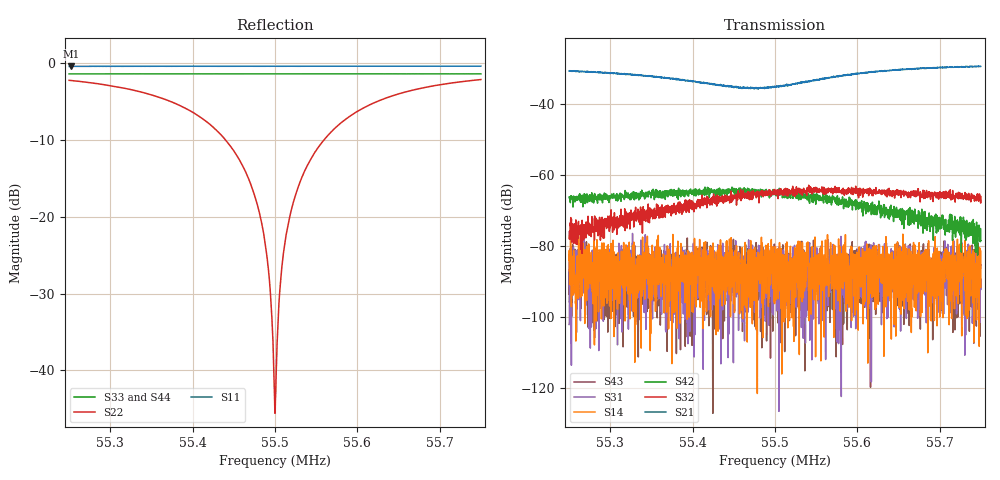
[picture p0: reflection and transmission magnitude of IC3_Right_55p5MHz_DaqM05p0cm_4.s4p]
#  HZ  S  DB  R  50.00
! Rohde & Schwarz Vector Network Analyzer
! Rohde-Schwarz,ZNB8-4Port,1311601044102961,2.82
! Created: UTC 2/13/2019, 1:43:54 PM
! freq[Hz]  db:S11  ang:S11  db:S12  ang:S12  db:S13  ang:S13  db:S14  ang:S14
!  db:S21  ang:S21  db:S22  ang:S22  db:S23  ang:S23  db:S24  ang:S24
!  db:S31  ang:S31  db:S32  ang:S32  db:S33  ang:S33  db:S34  ang:S34
!  db:S41  ang:S41  db:S42  ang:S42  db:S43  ang:S43  db:S44  ang:S44
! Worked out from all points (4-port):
!   2001 points, 55.25 MHz to 55.75 MHz, reference 50 ohm
!   strongest paths, dB at 55.25 MHz, 55.375 MHz, 55.5 MHz, 55.625 MHz, 55.75 MHz:
!     S21: -30.9, -33.1, -35.3, -31.0, -29.6
!     S32: -77.9, -68.6, -65.4, -65.2, -66.1
!     S42: -66.3, -65.1, -65.1, -69.2, -78.5
!     S14: -84.1, -91.3, -82.2, -87.4, -91.6
!     S31: -102.1, -90.3, -85.3, -92.2, -89.5
!     S43: -93.6, -85.0, -85.2, -89.3, -85.3
!   lowest |S11| = -0.4 dB at 55.2522 MHz (marker M1), VSWR 39.87, Z = 2.22 + j43.9 ohm
!   |S11| at or under -10 dB: nowhere
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5.525e7  -0.43 97.4  -30.85 71.0  -88.30 -74.2  -84.14 -0.3
         -30.86 71.0  -2.25 -140.9  -77.95 19.5  -67.10 -150.2
         -102.09 120.7  -77.94 7.6  -1.41 24.7  -110.38 165.8
         -81.12 1.6  -66.31 -160.8  -93.59 111.2  -1.43 31.2
5.525225e7  -0.44 97.4  -30.93 71.3  -91.00 -175.9  -80.37 114.0
            -30.87 70.7  -2.27 -141.2  -79.70 1.4  -67.18 -157.8
            -107.33 -8.1  -77.08 22.4  -1.41 24.7  -93.20 145.9
            -94.60 -84.8  -65.89 -154.9  -83.67 112.4  -1.44 31.2
5.544875e7  -0.42 93.7  -35.42 74.7  -94.31 98.7  -82.82 -72.2
            -35.25 73.3  -11.24 169.7  -67.23 -50.0  -65.08 157.2
            -84.40 150.3  -65.71 -42.5  -1.41 22.2  -90.86 130.2
            -90.74 -15.9  -64.69 165.0  -83.06 -30.9  -1.42 28.7
5.5485e7  -0.41 93.1  -35.53 85.8  -100.92 -55.9  -84.92 7.9
          -35.59 85.5  -21.48 158.3  -64.97 -56.9  -64.52 144.8
          -90.60 -158.9  -65.75 -55.0  -1.41 21.8  -88.89 -17.4
          -90.42 179.5  -65.06 135.7  -80.35 -125.7  -1.42 28.3
5.55e7  -0.42 92.8  -35.49 91.4  -85.40 128.0  -82.16 15.0
        -35.33 91.4  -45.57 -127.6  -65.36 -60.5  -65.51 142.5
        -85.25 153.8  -65.40 -56.7  -1.40 21.6  -82.36 35.6
        -81.11 -118.3  -65.08 141.5  -85.17 132.5  -1.43 28.1
5.555125e7  -0.41 91.8  -33.39 100.7  -82.52 -142.0  -82.74 30.2
            -33.27 100.9  -11.16 -53.0  -64.33 -70.5  -66.92 125.5
            -85.30 -162.5  -64.13 -70.0  -1.41 20.9  -94.14 -106.1
            -84.84 -16.9  -66.40 125.3  -80.77 54.1  -1.42 27.4
5.575e7  -0.41 88.2  -29.49 84.0  -88.99 130.5  -91.59 141.3
         -29.57 85.1  -2.14 -103.7  -66.35 -121.2  -77.00 82.8
         -89.49 -101.1  -66.15 -117.3  -1.40 18.4  -91.95 71.7
         -88.64 124.9  -78.52 94.4  -85.26 13.4  -1.42 25.0
